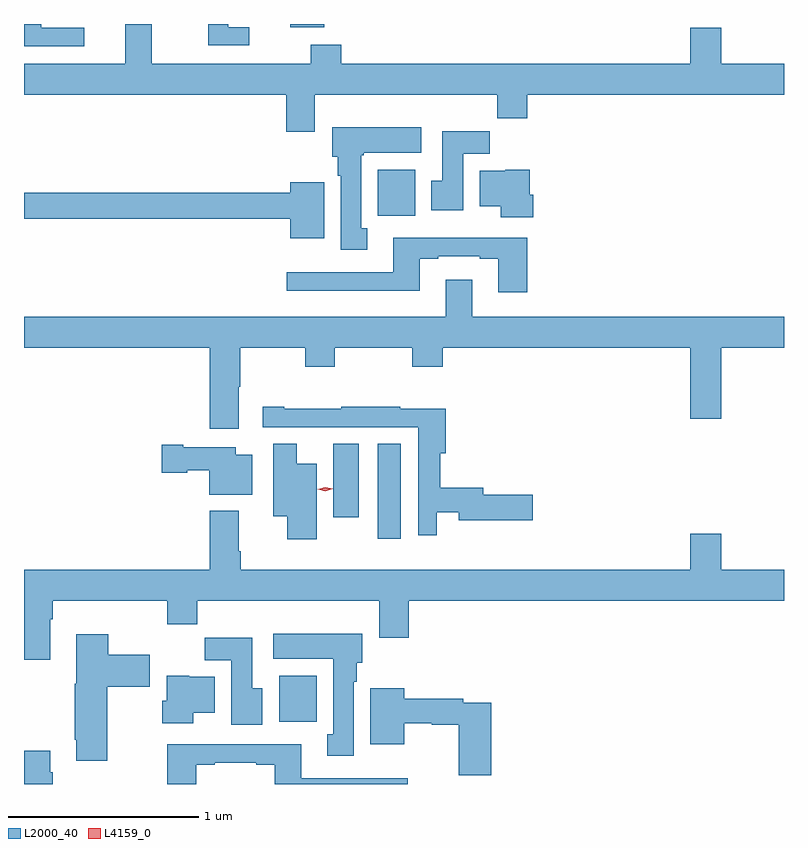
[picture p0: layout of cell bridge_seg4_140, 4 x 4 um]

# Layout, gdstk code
import gdstk
lib = gdstk.Library(unit=1e-6, precision=1e-09)
def R(c, l, rs):  # rectangles x0, y0, x1, y1
    for r in rs: c.add(gdstk.rectangle(r[:2], r[2:], *l))
def P(c, l, *ps):  # polygons
    for p in ps: c.add(gdstk.Polygon(p, *l))
L2000_40 = (2000, 40)
L4159_0 = (4159, 0)

bridge_seg4_140 = lib.new_cell('bridge_seg4_140')
R(bridge_seg4_140, L2000_40, [(126.881,773.54,127.078,773.782), (127.4,774.504,127.522,775.003), (127.166,774.615,127.3,775.004), (127.4,776.204,127.597,776.446), (126.938,777.194,127.117,777.212)])
P(bridge_seg4_140, L2000_40, [(127.069,776.84),(128.029,776.84),(128.029,776.716),(128.186,776.716),(128.186,776.84),(129.538,776.84),(129.538,777.004),(129.208,777.004),(129.208,777.193),(129.044,777.193),(129.044,777.004),(127.208,777.004),(127.208,777.103),(127.048,777.103),(127.048,777.004),(126.211,777.004),(126.211,777.212),(126.071,777.212),(126.071,777.004),(125.538,777.004),(125.538,776.84),(126.917,776.84),(126.917,776.646),(127.069,776.646)],
  [(126.724,777.195),(126.613,777.195),(126.613,777.212),(126.509,777.212),(126.509,777.099),(126.724,777.099)],
  [(125.854,777.192),(125.629,777.192),(125.629,777.212),(125.538,777.212),(125.538,777.096),(125.854,777.096)],
  [(127.345,776.138),(127.312,776.138),(127.312,776.521),(127.326,776.521),(127.326,776.534),(127.63,776.534),(127.63,776.668),(127.16,776.668),(127.16,776.514),(127.19,776.514),(127.19,776.414),(127.205,776.414),(127.205,776.025),(127.345,776.025)],
  [(127.849,776.528),(127.988,776.528),(127.988,776.647),(127.739,776.647),(127.739,776.388),(127.682,776.388),(127.682,776.232),(127.849,776.232)],
  [(128.219,776.313),(128.201,776.313),(128.201,776.446),(128.07,776.446),(128.07,776.44),(127.937,776.44),(127.937,776.252),(128.048,776.252),(128.048,776.195),(128.219,776.195)],
  [(127.117,776.38),(126.938,776.38),(126.938,776.324),(125.538,776.324),(125.538,776.188),(126.938,776.188),(126.938,776.084),(127.117,776.084)],
  [(128.186,776.086),(127.481,776.086),(127.481,775.905),(126.921,775.905),(126.921,775.808),(127.621,775.808),(127.621,775.977),(127.717,775.977),(127.717,775.989),(127.937,775.989),(127.937,775.977),(128.033,775.977),(128.033,775.8),(128.186,775.8)],
  [(126.667,775.304),(126.675,775.304),(126.675,775.508),(127.018,775.508),(127.018,775.409),(127.173,775.409),(127.173,775.508),(127.582,775.508),(127.582,775.409),(127.742,775.409),(127.742,775.508),(129.044,775.508),(129.044,775.134),(129.208,775.134),(129.208,775.508),(129.538,775.508),(129.538,775.672),(127.897,775.672),(127.897,775.867),(127.757,775.867),(127.757,775.672),(125.538,775.672),(125.538,775.508),(126.515,775.508),(126.515,775.083),(126.667,775.083)],
  [(127.71,774.642),(127.826,774.642),(127.826,774.599),(128.215,774.599),(128.215,774.734),(127.954,774.734),(127.954,774.77),(127.73,774.77),(127.73,774.953),(127.757,774.953),(127.757,775.188),(127.517,775.188),(127.517,775.198),(127.207,775.198),(127.207,775.188),(126.907,775.188),(126.907,775.198),(126.795,775.198),(126.795,775.089),(127.614,775.089),(127.614,774.522),(127.71,774.522)],
  [(127.078,774.898),(126.973,774.898),(126.973,775.004),(126.851,775.004),(126.851,774.62),(126.923,774.62),(126.923,774.501),(127.078,774.501)],
  [(126.739,774.946),(126.652,774.946),(126.652,774.985),(126.376,774.985),(126.376,774.998),(126.264,774.998),(126.264,774.851),(126.396,774.851),(126.396,774.863),(126.512,774.863),(126.512,774.734),(126.739,774.734)],
  [(125.677,774.08),(125.69,774.08),(125.69,774.176),(126.293,774.176),(126.293,774.052),(126.449,774.052),(126.449,774.176),(127.409,774.176),(127.409,773.982),(127.562,773.982),(127.562,774.176),(129.538,774.176),(129.538,774.34),(129.208,774.34),(129.208,774.529),(129.044,774.529),(129.044,774.34),(126.68,774.34),(126.68,774.436),(126.667,774.436),(126.667,774.649),(126.515,774.649),(126.515,774.34),(125.538,774.34),(125.538,773.865),(125.677,773.865)],
  [(127.273,773.75),(127.288,773.75),(127.288,773.85),(127.318,773.85),(127.318,774.004),(126.849,774.004),(126.849,773.87),(127.166,773.87),(127.166,773.474),(127.133,773.474),(127.133,773.361),(127.273,773.361)],
  [(125.976,773.723),(126.199,773.723),(126.199,773.893),(125.981,773.893),(125.981,774.001),(125.813,774.001),(125.813,773.739),(125.806,773.739),(125.806,773.446),(125.813,773.446),(125.813,773.334),(125.976,773.334)],
  [(126.793,773.716),(126.739,773.716),(126.739,773.983),(126.49,773.983),(126.49,773.864),(126.629,773.864),(126.629,773.523),(126.793,773.523)],
  [(126.43,773.588),(126.541,773.588),(126.541,773.776),(126.408,773.776),(126.408,773.782),(126.29,773.782),(126.29,773.649),(126.265,773.649),(126.265,773.531),(126.43,773.531)],
  [(127.997,773.64),(127.85,773.64),(127.85,773.66),(127.54,773.66),(127.54,773.716),(127.361,773.716),(127.361,773.42),(127.54,773.42),(127.54,773.532),(127.683,773.532),(127.683,773.524),(127.826,773.524),(127.826,773.259),(127.997,773.259)],
  [(126.445,773.313),(126.541,773.313),(126.541,773.325),(126.761,773.325),(126.761,773.313),(126.857,773.313),(126.857,773.212),(127.558,773.212),(127.558,773.241),(126.997,773.241),(126.997,773.421),(126.293,773.421),(126.293,773.212),(126.445,773.212)],
  [(125.69,773.273),(125.677,773.273),(125.677,773.386),(125.538,773.386),(125.538,773.212),(125.69,773.212)])
P(bridge_seg4_140, L4159_0, [(127.124,774.754),(127.083,774.763),(127.083,774.764),(127.083,774.764),(127.123,774.774),(127.164,774.765),(127.164,774.765),(127.164,774.765)])

lib.write_gds('bridge_seg4_140.gds')
